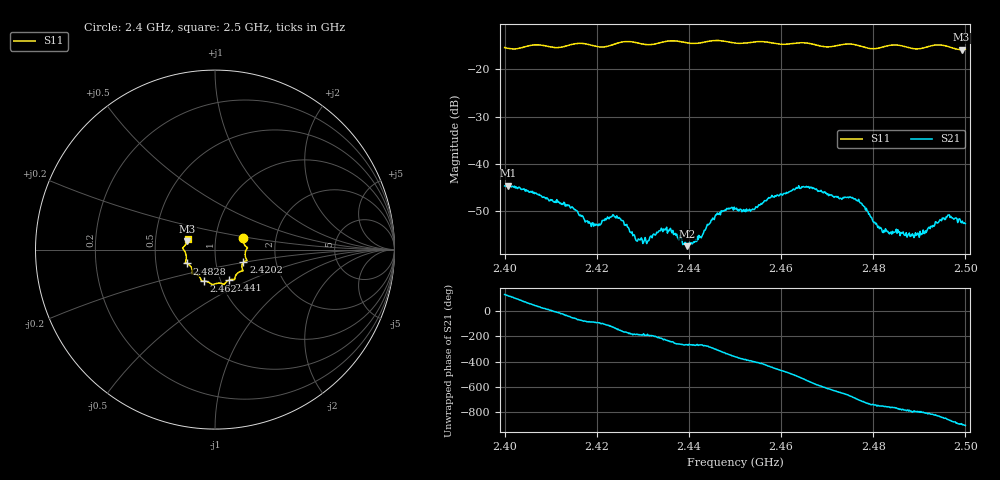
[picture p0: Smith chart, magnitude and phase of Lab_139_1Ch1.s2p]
# Hz S RI R 50
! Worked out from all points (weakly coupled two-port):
!   601 points, 2.4 GHz to 2.5 GHz, reference 50 ohm
!   highest |S21| = -44.61 dB at 2.4008 GHz (marker M1); lowest = -57.4 dB at 2.4397 GHz (marker M2)
!   lowest |S11| = -15.8 dB at 2.4992 GHz (marker M3), VSWR 1.38, Z = 36.5 + j3.65 ohm
!   |S11| at or under -10 dB: start of sweep to end of sweep
!   S12 and S22 are empty: the file has one direction only
!   S11 on the Smith chart (normalised r, x): 2.4 GHz: 1.36, +0.18; 2.4202 GHz: 1.36, -0.20; 2.441 GHz: 1.10, -0.39; 2.462 GHz: 0.84, -0.30; 2.4828 GHz: 0.72, -0.12; 2.5 GHz: 0.73, +0.09
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2.4e9  0.1573 0.0629  -0.00355 0.00465  0 0  0 0
2.400833e9  0.1571 0.0534  -0.00254 0.0053  0 0  0 0
2.416667e9  0.1778 -0.06  0.000684 -0.0027  0 0  0 0
2.420167e9  0.1583 -0.0705  -0.00013 -0.00227  0 0  0 0
2.424e9  0.1518 -0.1062  -0.00198 -0.0019  0 0  0 0
2.4305e9  0.1315 -0.1268  -0.00163 0.000339  0 0  0 0
2.433333e9  0.1123 -0.1508  -0.00162 0.000999  0 0  0 0
2.436e9  0.1104 -0.1661  -0.000982 0.00183  0 0  0 0
2.439667e9  0.092 -0.1658  -6.07e-05 0.00135  0 0  0 0
2.441e9  0.0788 -0.1696  -4.59e-05 0.0015  0 0  0 0
2.446167e9  0.0508 -0.1949  0.00195 0.00231  0 0  0 0
2.45e9  0.0286 -0.187  0.00333 -0.00014  0 0  0 0
2.453833e9  -0.00588 -0.1934  0.00257 -0.00211  0 0  0 0
2.462e9  -0.0602 -0.1755  -0.0036 -0.00365  0 0  0 0
2.466667e9  -0.0777 -0.1682  -0.00505 0.00253  0 0  0 0
2.4765e9  -0.1259 -0.128  0.00374 0.00168  0 0  0 0
2.482833e9  -0.1576 -0.0774  0.00161 -0.00114  0 0  0 0
2.483333e9  -0.1606 -0.0763  0.00148 -0.00113  0 0  0 0
2.490167e9  -0.1637 -0.0211  0.000325 -0.00191  0 0  0 0
2.496333e9  -0.1724 0.0174  -0.00215 -0.00192  0 0  0 0
2.499167e9  -0.1538 0.0487  -0.00234 -0.000454  0 0  0 0
2.5e9  -0.1514 0.0609  -0.00233 0.000136  0 0  0 0
